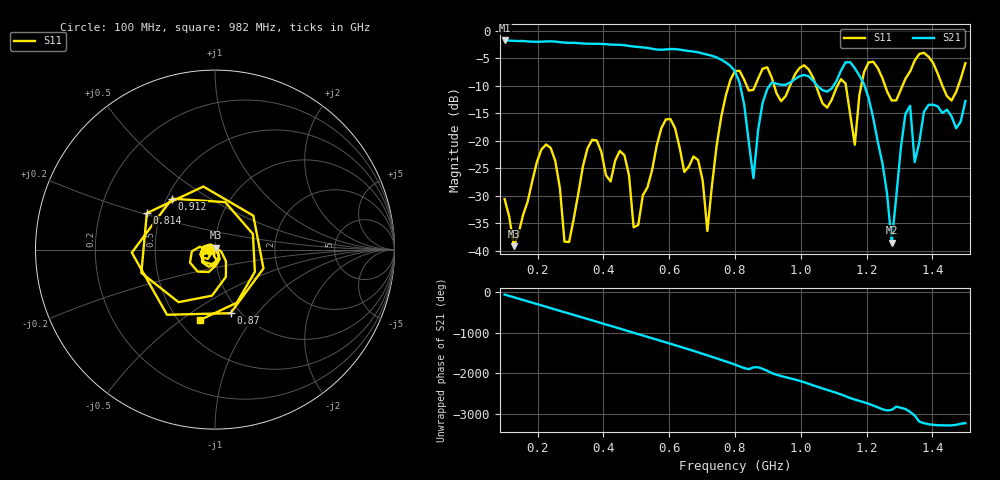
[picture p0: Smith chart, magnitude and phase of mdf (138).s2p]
! NanoVNA-App
! Date: 2025-09-26 09:40:48
! Start: 100MHz Stop: 1,5GHz Points: 101
! S-Parameter data: F S11 S21 S12 S22
# Hz S RI R 50
!  Frequency  S11_Real  S11_Imag  S21_Real  S21_Imag  S12_Real  S12_Imag  S22_Real  S22_Imag
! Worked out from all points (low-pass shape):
!   101 points, 100 MHz to 1.5 GHz, reference 50 ohm
!   highest |S21| = -1.79 dB at 100 MHz (marker M1); lowest = -38.5 dB at 1.276 GHz (marker M2)
!   |S21| within 3 dB of the highest: start of sweep to 740.4 MHz
!   lowest |S11| = -39.2 dB at 128 MHz (marker M3), VSWR 1.02, Z = 50.3 + j1.07 ohm
!   |S11| at or under -10 dB: start of sweep to 780.9 MHz; 1.046 GHz to 1.112 GHz (65.51 MHz wide, 6.07 % of centre); 1.256 GHz to 1.309 GHz (53.11 MHz wide, 4.14 % of centre)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
!   S12 and S22 are empty: the file has one direction only
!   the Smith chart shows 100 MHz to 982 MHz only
!   S11 on the Smith chart (normalised r, x): 100 MHz: 0.94, -0.01; 814 MHz: 0.42, +0.21; 870 MHz: 0.90, -0.74; 912 MHz: 0.53, +0.35; 982 MHz: 0.64, -0.59
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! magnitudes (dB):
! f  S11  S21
! 100 MHz  -30.6  -1.8
! 128 MHz  -39.2  -1.9
! 212 MHz  -21.6  -2.0
! 282 MHz  -38.4  -2.2
! 338 MHz  -24.6  -2.3
! 464 MHz  -22.6  -2.6
! 492 MHz  -35.8  -2.9
! 576 MHz  -17.8  -3.5
! 716 MHz  -36.4  -4.4
! 800 MHz  -7.3  -7.4
! 814 MHz  -7.3  -9.5
! 856 MHz  -10.8  -26.8
! 870 MHz  -8.8  -18.1
! 912 MHz  -8.6  -9.4
! 982 MHz  -8.0  -8.8
! 1.038 GHz  -8.6  -9.1
! 1.164 GHz  -20.7  -6.8
! 1.192 GHz  -7.5  -9.7
! 1.276 GHz  -12.7  -38.5
! 1.318 GHz  -8.7  -15.1
! 1.346 GHz  -5.4  -23.9
! 1.5 GHz  -5.9  -12.8
